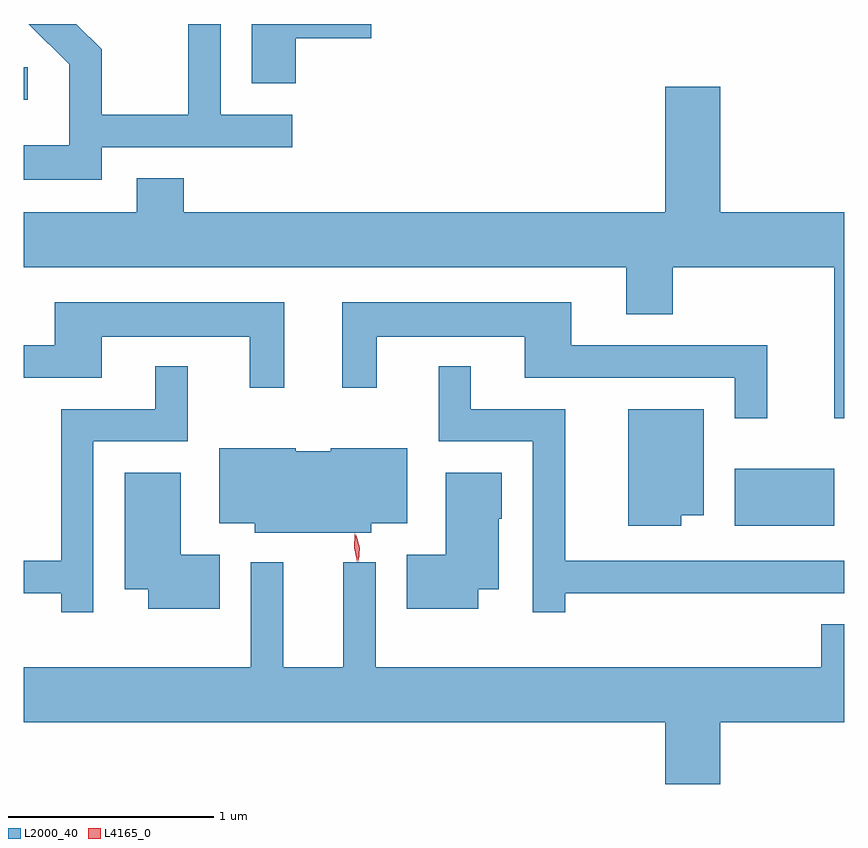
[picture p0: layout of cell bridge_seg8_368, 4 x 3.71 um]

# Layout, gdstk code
import gdstk
lib = gdstk.Library(unit=1e-6, precision=1e-09)
def R(c, l, rs):  # rectangles x0, y0, x1, y1
    for r in rs: c.add(gdstk.rectangle(r[:2], r[2:], *l))
def P(c, l, *ps):  # polygons
    for p in ps: c.add(gdstk.Polygon(p, *l))
L2000_40 = (2000, 40)
L4165_0 = (4165, 0)

bridge_seg8_368 = lib.new_cell('bridge_seg8_368')
R(bridge_seg8_368, L2000_40, [(714.916,1886.216,715.399,1886.494), (711.449,1888.291,711.468,1888.449)])
P(bridge_seg8_368, L2000_40, [(712.774,1888.591),(713.144,1888.591),(713.144,1888.661),(712.561,1888.661),(712.561,1888.371),(712.774,1888.371)],
  [(711.829,1888.061),(712.758,1888.061),(712.758,1888.219),(712.409,1888.219),(712.409,1888.661),(712.251,1888.661),(712.251,1888.219),(711.829,1888.219),(711.829,1888.537),(711.705,1888.661),(711.474,1888.661),(711.671,1888.464),(711.671,1888.069),(711.449,1888.069),(711.449,1887.901),(711.829,1887.901)],
  [(715.449,1887.744),(714.844,1887.744),(714.844,1888.354),(714.576,1888.354),(714.576,1887.744),(712.229,1887.744),(712.229,1887.909),(712.001,1887.909),(712.001,1887.744),(711.449,1887.744),(711.449,1887.476),(714.386,1887.476),(714.386,1887.246),(714.614,1887.246),(714.614,1887.476),(715.401,1887.476),(715.401,1886.738),(715.449,1886.738)],
  [(712.719,1887.304),(711.601,1887.304),(711.601,1887.094),(711.449,1887.094),(711.449,1886.936),(711.829,1886.936),(711.829,1887.136),(712.551,1887.136),(712.551,1886.888),(712.719,1886.888)],
  [(715.074,1887.094),(714.119,1887.094),(714.119,1887.304),(713.001,1887.304),(713.001,1886.888),(713.169,1886.888),(713.169,1887.136),(713.891,1887.136),(713.891,1886.936),(714.916,1886.936),(714.916,1886.738),(715.074,1886.738)],
  [(714.089,1885.886),(715.449,1885.886),(715.449,1886.044),(714.089,1886.044),(714.089,1886.784),(713.629,1886.784),(713.629,1886.993),(713.471,1886.993),(713.471,1886.626),(713.931,1886.626),(713.931,1885.793),(714.089,1885.793)],
  [(711.789,1886.626),(712.249,1886.626),(712.249,1886.993),(712.091,1886.993),(712.091,1886.784),(711.631,1886.784),(711.631,1886.044),(711.449,1886.044),(711.449,1885.886),(711.631,1885.886),(711.631,1885.793),(711.789,1885.793)],
  [(714.654,1886.266),(714.764,1886.266),(714.764,1886.784),(714.396,1886.784),(714.396,1886.216),(714.654,1886.216)],
  [(713.144,1886.226),(713.319,1886.226),(713.319,1886.594),(712.945,1886.594),(712.945,1886.579),(712.775,1886.579),(712.775,1886.594),(712.401,1886.594),(712.401,1886.226),(712.576,1886.226),(712.576,1886.181),(713.144,1886.181)],
  [(712.404,1886.074),(712.214,1886.074),(712.214,1886.474),(711.941,1886.474),(711.941,1885.906),(712.056,1885.906),(712.056,1885.811),(712.404,1885.811)],
  [(713.664,1885.906),(713.764,1885.906),(713.764,1886.25),(713.779,1886.25),(713.779,1886.474),(713.506,1886.474),(713.506,1886.074),(713.316,1886.074),(713.316,1885.811),(713.664,1885.811)],
  [(714.844,1885.256),(715.449,1885.256),(715.449,1885.734),(715.336,1885.734),(715.336,1885.524),(713.164,1885.524),(713.164,1886.038),(713.006,1886.038),(713.006,1885.524),(712.714,1885.524),(712.714,1886.038),(712.556,1886.038),(712.556,1885.524),(711.449,1885.524),(711.449,1885.256),(714.576,1885.256),(714.576,1884.956),(714.844,1884.956)])
P(bridge_seg8_368, L4165_0, [(713.081,1886.043),(713.081,1886.044),(713.066,1886.106),(713.07,1886.169),(713.071,1886.17),(713.071,1886.169),(713.086,1886.107),(713.082,1886.044)],
  [(713.076,1886.039),(713.076,1886.04),(713.06,1886.107),(713.062,1886.177),(713.063,1886.177),(713.063,1886.177),(713.079,1886.109),(713.076,1886.04)])

lib.write_gds('bridge_seg8_368.gds')
